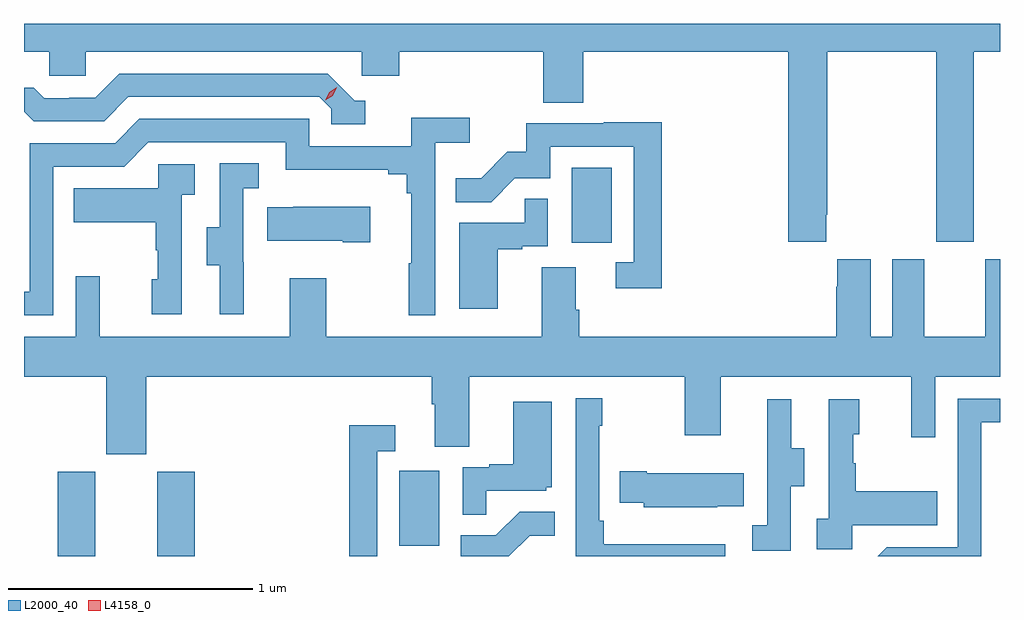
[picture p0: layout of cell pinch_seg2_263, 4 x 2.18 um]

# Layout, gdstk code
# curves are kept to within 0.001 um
import gdstk
lib = gdstk.Library(unit=1e-6, precision=1e-09)
def R(c, l, rs):  # rectangles x0, y0, x1, y1
    for r in rs: c.add(gdstk.rectangle(r[:2], r[2:], *l))
def P(c, l, *ps):  # polygons
    for p in ps: c.add(gdstk.Polygon(p, *l))
L2000_40 = (2000, 40)
L4158_0 = (4158, 0)

pinch_seg2_263 = lib.new_cell('pinch_seg2_263')
R(pinch_seg2_263, L2000_40, [(910.73,664.216,910.882,664.563), (911.138,664.216,911.291,664.563), (912.128,664.26,912.292,664.567), (912.836,665.502,913,665.809)])
P(pinch_seg2_263, L2000_40, [(913.879,665.617),(913.884,665.617),(913.884,666.284),(914.329,666.284),(914.329,665.505),(914.484,665.505),(914.484,666.284),(914.591,666.284),(914.591,666.4),(910.591,666.4),(910.591,666.284),(910.695,666.284),(910.695,666.186),(910.845,666.186),(910.845,666.284),(911.976,666.284),(911.976,666.186),(912.128,666.186),(912.128,666.284),(912.719,666.284),(912.719,666.076),(912.884,666.076),(912.884,666.284),(913.724,666.284),(913.724,665.505),(913.879,665.505)],
  [(911.989,666.084),(911.946,666.084),(911.835,666.195),(910.982,666.195),(910.883,666.096),(910.776,666.096),(910.776,666.093),(910.673,666.093),(910.631,666.136),(910.591,666.136),(910.591,666.039),(910.631,666),(910.92,666),(911.019,666.099),(911.802,666.099),(911.85,666.051),(911.85,665.988),(911.989,665.988)],
  [(910.71,665.814),(911.001,665.814),(911.1,665.913),(911.664,665.913),(911.664,665.801),(912.083,665.801),(912.083,665.782),(912.16,665.782),(912.16,665.705),(912.179,665.705),(912.179,665.417),(912.168,665.417),(912.168,665.205),(912.276,665.205),(912.276,665.912),(912.418,665.912),(912.418,666.014),(912.179,666.014),(912.179,665.898),(911.76,665.898),(911.76,666.009),(911.063,666.009),(910.964,665.91),(910.614,665.91),(910.614,665.301),(910.591,665.301),(910.591,665.205),(910.71,665.205)],
  [(913.205,665.996),(912.967,665.996),(912.967,665.991),(912.649,665.991),(912.649,665.874),(912.572,665.874),(912.465,665.767),(912.361,665.767),(912.361,665.668),(912.505,665.668),(912.603,665.766),(912.747,665.766),(912.747,665.895),(913.089,665.895),(913.089,665.421),(913.017,665.421),(913.017,665.316),(913.205,665.316)],
  [(911.492,665.421),(911.49,665.421),(911.49,665.725),(911.554,665.725),(911.554,665.828),(911.394,665.828),(911.394,665.565),(911.339,665.565),(911.339,665.41),(911.393,665.41),(911.393,665.208),(911.492,665.208)],
  [(911.238,665.699),(911.29,665.699),(911.29,665.823),(911.142,665.823),(911.142,665.725),(910.795,665.725),(910.795,665.585),(911.13,665.585),(911.13,665.471),(911.14,665.471),(911.14,665.352),(911.114,665.352),(911.114,665.208),(911.238,665.208)],
  [(912.532,665.475),(912.632,665.475),(912.632,665.487),(912.738,665.487),(912.738,665.681),(912.643,665.681),(912.643,665.583),(912.374,665.583),(912.374,665.232),(912.532,665.232)],
  [(912.01,665.65),(911.695,665.65),(911.695,665.647),(911.587,665.647),(911.587,665.51),(911.897,665.51),(911.897,665.503),(912.01,665.503)],
  [(911.092,664.952),(912.263,664.952),(912.263,664.84),(912.275,664.84),(912.275,664.666),(912.415,664.666),(912.415,664.952),(913.3,664.952),(913.3,664.713),(913.447,664.713),(913.447,664.952),(914.228,664.952),(914.228,664.704),(914.325,664.704),(914.325,664.952),(914.591,664.952),(914.591,665.434),(914.531,665.434),(914.531,665.116),(914.281,665.116),(914.281,665.434),(914.15,665.434),(914.15,665.116),(914.062,665.116),(914.062,665.434),(913.925,665.434),(913.925,665.321),(913.919,665.321),(913.919,665.116),(912.866,665.116),(912.866,665.228),(912.853,665.228),(912.853,665.402),(912.713,665.402),(912.713,665.116),(911.829,665.116),(911.829,665.356),(911.681,665.356),(911.681,665.116),(910.901,665.116),(910.901,665.365),(910.803,665.365),(910.803,665.116),(910.591,665.116),(910.591,664.952),(910.928,664.952),(910.928,664.635),(911.092,664.635)],
  [(913.464,664.267),(912.968,664.267),(912.968,664.363),(912.948,664.363),(912.948,664.751),(912.961,664.751),(912.961,664.864),(912.852,664.864),(912.852,664.216),(913.464,664.216)],
  [(914.514,664.767),(914.591,664.767),(914.591,664.863),(914.418,664.863),(914.418,664.254),(914.127,664.254),(914.089,664.216),(914.514,664.216)],
  [(913.986,664.343),(914.333,664.343),(914.333,664.483),(913.999,664.483),(913.999,664.598),(913.989,664.598),(913.989,664.716),(914.014,664.716),(914.014,664.861),(913.89,664.861),(913.89,664.37),(913.839,664.37),(913.839,664.245),(913.986,664.245)],
  [(913.734,664.504),(913.789,664.504),(913.789,664.659),(913.735,664.659),(913.735,664.861),(913.637,664.861),(913.637,664.647),(913.638,664.647),(913.638,664.343),(913.575,664.343),(913.575,664.24),(913.734,664.24)],
  [(912.485,664.485),(912.732,664.485),(912.732,664.5),(912.754,664.5),(912.754,664.849),(912.596,664.849),(912.596,664.594),(912.497,664.594),(912.497,664.581),(912.39,664.581),(912.39,664.387),(912.485,664.387)],
  [(912.039,664.647),(912.112,664.647),(912.112,664.753),(911.923,664.753),(911.923,664.216),(912.039,664.216)],
  [(913.433,664.421),(913.541,664.421),(913.541,664.558),(913.144,664.558),(913.144,664.566),(913.033,664.566),(913.033,664.436),(913.131,664.436),(913.131,664.418),(913.433,664.418)],
  [(912.663,664.301),(912.767,664.301),(912.767,664.4),(912.623,664.4),(912.525,664.302),(912.381,664.302),(912.381,664.216),(912.578,664.216)])
P(pinch_seg2_263, L4158_0, [(911.825,666.085),(911.825,666.086),(911.841,666.118),(911.872,666.138),(911.872,666.138),(911.872,666.138),(911.856,666.105),(911.825,666.085)])

lib.write_gds('pinch_seg2_263.gds')
